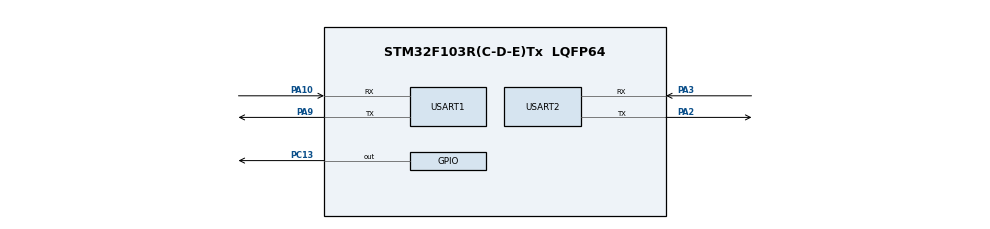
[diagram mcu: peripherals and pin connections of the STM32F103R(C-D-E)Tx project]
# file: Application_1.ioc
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Mcu.Family=STM32F1
Mcu.Name=STM32F103R(C-D-E)Tx
Mcu.Package=LQFP64
NVIC.PriorityGroup=NVIC_PRIORITYGROUP_4
NVIC.TIM1_UP_IRQn=true\:15\:0\:false\:false\:true\:false\:true\:true
NVIC.TimeBase=TIM1_UP_IRQn
NVIC.TimeBaseIP=TIM1
PA10.Mode=Asynchronous
PA10.Signal=USART1_RX
PA13.Mode=Serial_Wire
PA13.Signal=SYS_JTMS-SWDIO
PA14.Mode=Serial_Wire
PA14.Signal=SYS_JTCK-SWCLK
PA2.Mode=Asynchronous
PA2.Signal=USART2_TX
PA3.Mode=Asynchronous
PA3.Signal=USART2_RX
PA9.Mode=Asynchronous
PA9.Signal=USART1_TX
PC13-TAMPER-RTC.Signal=GPIO_Output
ProjectManager.HeapSize=0x200
ProjectManager.StackSize=0x400
ProjectManager.TargetToolchain=CMake
RCC.APB1Freq_Value=8000000
RCC.APB2Freq_Value=8000000
USART1.VirtualMode=VM_ASYNC
USART2.VirtualMode=VM_ASYNC
VP_CRC_VS_CRC.Mode=CRC_Activate
VP_SYS_VS_tim1.Mode=TIM1
board=custom

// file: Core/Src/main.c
/* USER CODE BEGIN Header */
/**
 ******************************************************************************
 * @file           : main.c
 * @brief          : Main program body
 ******************************************************************************
 * @attention
 *
 * Copyright (c) 2026 STMicroelectronics.
 * All rights reserved.
 *
 * This software is licensed under terms that can be found in the LICENSE file
 * in the root directory of this software component.
 * If no LICENSE file comes with this software, it is provided AS-IS.
 *
 ******************************************************************************
 */
/* USER CODE END Header */
#include "main.h"
#include "crc.h"
#include "gpio.h"
#include "usart.h"

/* USER CODE BEGIN Includes */
#include "BootloaderConfig.h"
#include "Debug.h"
#include "Led.h"
#include "Metadata.h"

/* USER CODE END Includes */

/* USER CODE BEGIN PD */
#define APP_FLASH_ORIGIN 0x0800C000UL
/* USER CODE END PD */

/* USER CODE BEGIN PV */
static void App_ConfirmSlot(void) {
  BootMetadata_t metadata;
  bool found;
  HAL_StatusTypeDef status;

  status = Metadata_LoadLatest(&metadata, &found);
  if ((status != HAL_OK) || !found) {
    Debug("App confirm: metadata not found\r\n");
    return;
  }

  if ((metadata.pending_slot != BOOT_SLOT_APP1) &&
      (metadata.pending_slot != BOOT_SLOT_APP2)) {
    Debug("App confirm: no pending slot\r\n");
    return;
  }

  status = Metadata_ConfirmSlot((BootSlot_t)metadata.pending_slot);
  if (status != HAL_OK) {
    Debug("App confirm: failed\r\n");
    return;
  }

  Debug("App confirm: slot %lu confirmed\r\n", metadata.pending_slot);
}
/* USER CODE END PV */

void SystemClock_Config(void);

int main(void) {

  /* USER CODE BEGIN 1 */
  SCB->VTOR = APP_FLASH_ORIGIN;
  /* USER CODE END 1 */

  /* MCU Configuration--------------------------------------------------------*/

  /* Reset of all peripherals, Initializes the Flash interface and the Systick.
   */
  HAL_Init();

  /* Configure the system clock */
  SystemClock_Config();

  /* Initialize all configured peripherals */
  MX_GPIO_Init();
  MX_CRC_Init();
  MX_USART1_UART_Init();
  MX_USART2_UART_Init();
  /* USER CODE BEGIN 2 */
  Led_Init();
  Led_On();
  Debug("Application 1 start\r\n");
  App_ConfirmSlot();
  /* USER CODE END 2 */

  /* Infinite loop */
  while (1) {
    Led_Blink(500);
  }
}

void SystemClock_Config(void) {
  RCC_OscInitTypeDef RCC_OscInitStruct = {0};
  RCC_ClkInitTypeDef RCC_ClkInitStruct = {0};

  /** Initializes the RCC Oscillators according to the specified parameters
   * in the RCC_OscInitTypeDef structure.
   */
  RCC_OscInitStruct.OscillatorType = RCC_OSCILLATORTYPE_HSI;
  RCC_OscInitStruct.HSIState = RCC_HSI_ON;
  RCC_OscInitStruct.HSICalibrationValue = RCC_HSICALIBRATION_DEFAULT;
  RCC_OscInitStruct.PLL.PLLState = RCC_PLL_NONE;
  if (HAL_RCC_OscConfig(&RCC_OscInitStruct) != HAL_OK) {
    Error_Handler();
  }

  /** Initializes the CPU, AHB and APB buses clocks
   */
  RCC_ClkInitStruct.ClockType = RCC_CLOCKTYPE_HCLK | RCC_CLOCKTYPE_SYSCLK |
                                RCC_CLOCKTYPE_PCLK1 | RCC_CLOCKTYPE_PCLK2;
  RCC_ClkInitStruct.SYSCLKSource = RCC_SYSCLKSOURCE_HSI;
  RCC_ClkInitStruct.AHBCLKDivider = RCC_SYSCLK_DIV1;
  RCC_ClkInitStruct.APB1CLKDivider = RCC_HCLK_DIV1;
  RCC_ClkInitStruct.APB2CLKDivider = RCC_HCLK_DIV1;

  if (HAL_RCC_ClockConfig(&RCC_ClkInitStruct, FLASH_LATENCY_0) != HAL_OK) {
    Error_Handler();
  }
}

void HAL_TIM_PeriodElapsedCallback(TIM_HandleTypeDef *htim) {
  if (htim->Instance == TIM1) {
    HAL_IncTick();
  }
}

void Error_Handler(void) {
  __disable_irq();
  while (1) {
  }
}
#ifdef USE_FULL_ASSERT
/**
 * @brief  Reports the name of the source file and the source line number
 *         where the assert_param error has occurred.
 * @param  file: pointer to the source file name
 * @param  line: assert_param error line source number
 * @retval None
 */
void assert_failed(uint8_t *file, uint32_t line) {
  /* USER CODE BEGIN 6 */
  /* User can add his own implementation to report the file name and line
     number, ex: printf("Wrong parameters value: file %s on line %d\r\n", file,
     line) */
  /* USER CODE END 6 */
}
#endif /* USE_FULL_ASSERT */
